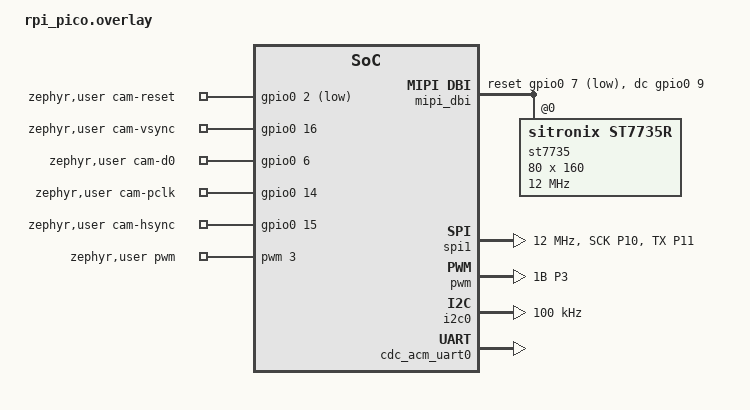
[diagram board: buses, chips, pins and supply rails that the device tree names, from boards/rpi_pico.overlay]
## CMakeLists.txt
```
# Copyright (c) Meta Platforms, Inc. and affiliates.
# All rights reserved.
# Copyright (c) 2026 Eoin Jordan.
#
# This source code is licensed under the BSD-style license found in the
# LICENSE file in the root directory of this source tree.
#
# MNIST digit recognition with ExecuTorch under Zephyr. Same structure as
# hello-executorch (model embedded as a const array, selective operator
# build) but with no Arm-backend pieces: the sample runs the portable
# kernels, including on a Cortex-M0+ without an FPU (RP2040).

cmake_minimum_required(VERSION 3.24)

set(CMAKE_SKIP_INSTALL_RULES
    ON
    CACHE BOOL "" FORCE
)

set(ET_PTE_FILE_PATH
    "${CMAKE_CURRENT_SOURCE_DIR}/models/mnist_tiny.pte"
    CACHE FILEPATH "Path to the ExecuTorch .pte model to embed"
)
if(NOT IS_ABSOLUTE "${ET_PTE_FILE_PATH}")
  get_filename_component(
    ET_PTE_FILE_PATH "${ET_PTE_FILE_PATH}" ABSOLUTE BASE_DIR
    "${CMAKE_CURRENT_SOURCE_DIR}"
  )
endif()
if(NOT EXISTS "${ET_PTE_FILE_PATH}")
  message(
    FATAL_ERROR
      "Model not found at ET_PTE_FILE_PATH=${ET_PTE_FILE_PATH}. "
      "Run models/tiny_digit_net.py --export or pass -DET_PTE_FILE_PATH=<file>."
  )
endif()

find_package(Zephyr REQUIRED HINTS $ENV{ZEPHYR_BASE})
project(executorch_mnist_camera)

find_package(Python3 COMPONENTS Interpreter REQUIRED)

set(CMAKE_CXX_FLAGS
    "${CMAKE_CXX_FLAGS} -Wall -Wno-switch -Wno-float-conversion -ffunction-sections -fdata-sections"
)

if(NOT DEFINED EXECUTORCH_DIR)
  if(DEFINED ZEPHYR_EXECUTORCH_MODULE_DIR)
    set(EXECUTORCH_DIR ${ZEPHYR_EXECUTORCH_MODULE_DIR})
  else()
    message(
      FATAL_ERROR
        "ExecuTorch module not found. Ensure it's properly configured in your Zephyr workspace."
    )
  endif()
endif()

include(${EXECUTORCH_DIR}/tools/cmake/Utils.cmake)
# arm_runner_create_selected_ops_lib() is target-agnostic despite its home.
include(${EXECUTORCH_DIR}/backends/arm/cmake/ArmRunnerUtils.cmake)

if(NOT TARGET portable_kernels)
  set(EXECUTORCH_PORTABLE_BUILD_KERNELS_ONLY ON)
  add_subdirectory(
    ${EXECUTORCH_DIR}/kernels/portable
    ${CMAKE_CURRENT_BINARY_DIR}/executorch/kernels/portable
  )
  unset(EXECUTORCH_PORTABLE_BUILD_KERNELS_ONLY)
endif()

# Only the operators present in the .pte are registered and linked.
arm_runner_create_selected_ops_lib(
  LIB_NAME "mnist_portable_ops_lib"
  FUNCTIONS_YAML "${EXECUTORCH_DIR}/kernels/portable/functions.yaml"
  OPS_FROM_MODEL "${ET_PTE_FILE_PATH}"
  KERNEL_LIBS portable_kernels
  DEPS executorch
  DTYPE_SELECTIVE_BUILD ""
)

# flatcc builds a host tool inside the ExecuTorch tree; give it a writable
# copy in the build directory (same workaround as hello-executorch).
set(_local_flatcc_root ${CMAKE_BINARY_DIR}/flatcc_src)
if(NOT EXISTS ${_local_flatcc_root}/CMakeLists.txt)
  file(MAKE_DIRECTORY ${_local_flatcc_root})
  execute_process(
    COMMAND ${CMAKE_COMMAND} -E copy_directory
            ${EXECUTORCH_DIR}/third-party/flatcc ${_local_flatcc_root}
  )
endif()
set(EXECUTORCH_FLATCC_SOURCE_ROOT
    ${_local_flatcc_root}
    CACHE PATH "" FORCE
)
set(EXECUTORCH_FLATCC_INSTALL_ROOT
    ${_local_flatcc_root}
    CACHE PATH "" FORCE
)

# The module's runtime includes <zephyr/kernel.h>, which needs Zephyr's
# generated headers; order it explicitly so a parallel build cannot race.
if(TARGET zephyr_generated_headers)
  foreach(_t executorch_core executorch portable_kernels kernels_util_all_deps)
    if(TARGET ${_t})
      add_dependencies(${_t} zephyr_generated_headers)
    endif()
  endforeach()
endif()

# Model bytes as a C array
set(_model_pte_header ${CMAKE_CURRENT_BINARY_DIR}/model_pte.h)
add_custom_command(
  OUTPUT ${_model_pte_header}
  COMMAND ${Python3_EXECUTABLE} ${CMAKE_CURRENT_SOURCE_DIR}/scripts/pte_to_header.py
          --pte ${ET_PTE_FILE_PATH} --out ${_model_pte_header}
  DEPENDS ${ET_PTE_FILE_PATH} ${CMAKE_CURRENT_SOURCE_DIR}/scripts/pte_to_header.py
  COMMENT "Converting ${ET_PTE_FILE_PATH} to model_pte.h"
)
add_custom_target(gen_model_header DEPENDS ${_model_pte_header})
add_dependencies(app gen_model_header)

target_sources(app PRIVATE src/main.cpp)
target_sources_ifdef(CONFIG_APP_CAMERA_HM01B0_PIO app PRIVATE src/camera_hm01b0.c)
target_sources_ifdef(CONFIG_APP_SCREEN_ST7735 app PRIVATE src/screen_st7735.c)
target_include_directories(app PRIVATE ${CMAKE_CURRENT_BINARY_DIR})

target_compile_definitions(
  app
  PRIVATE
    APP_METHOD_ALLOCATOR_POOL_SIZE=${CONFIG_EXECUTORCH_METHOD_ALLOCATOR_POOL_SIZE}
    APP_TEMP_ALLOCATOR_POOL_SIZE=${CONFIG_EXECUTORCH_TEMP_ALLOCATOR_POOL_SIZE}
)

target_link_libraries(app PRIVATE libexecutorch mnist_portable_ops_lib)
```

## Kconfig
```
# Copyright (c) Meta Platforms, Inc. and affiliates.
# All rights reserved.
# Copyright (c) 2026 Eoin Jordan.
#
# This source code is licensed under the BSD-style license found in the
# LICENSE file in the root directory of this source tree.

source "Kconfig.zephyr"

menu "ExecuTorch MNIST camera sample"

config EXECUTORCH_METHOD_ALLOCATOR_POOL_SIZE
	int "Method allocator pool size in bytes"
	default 65536
	depends on EXECUTORCH
	help
	  Static pool for the Method, its metadata and the memory-planned
	  activation buffers. TinyDigitNet needs about 60 KiB.

config EXECUTORCH_TEMP_ALLOCATOR_POOL_SIZE
	int "Temporary allocator pool size in bytes"
	default 8192
	depends on EXECUTORCH

config APP_BOOT_DELAY_MS
	int "Delay before the first console line (ms)"
	default 0
	help
	  Boards with a USB CDC console lose the banner unless the host has a
	  moment to open the port.

choice APP_CAMERA
	prompt "Camera input"
	default APP_CAMERA_NONE

config APP_CAMERA_NONE
	bool "None: run the embedded self-test only"

config APP_CAMERA_HM01B0_PIO
	bool "HM01B0 through RP2040 PIO + DMA (Arducam Pico4ML)"
	depends on SOC_SERIES_RP2040 && PIO_RPI_PICO && DMA && PWM && I2C && GPIO

endchoice

config APP_CAMERA_INTERVAL_MS
	int "Delay between camera inferences (ms)"
	default 500
	depends on !APP_CAMERA_NONE

config APP_PREVIEW_EVERY
	int "Print the 28x28 crop as ASCII every N frames"
	default 10
	depends on !APP_CAMERA_NONE

config APP_CAM_BINNING
	bool "HM01B0 2x2 binning (162x122 frames instead of 324x244)"
	default y
	depends on APP_CAMERA_HM01B0_PIO

config APP_CAM_BIT_REVERSE
	bool "Reverse the bit order of each HM01B0 byte"
	depends on APP_CAMERA_HM01B0_PIO
	help
	  The HM01B0 on the Pico4ML sends each pixel MSB first, matching the
	  PIO program. Turn this on if the preview looks like noise while the
	  frame statistics span the full range.

config APP_SCREEN_ST7735
	bool "Show the result on an ST7735 (zephyr,display chosen node)"
	depends on DISPLAY

config APP_USB_BOOTSEL_ON_1200_BAUD
	bool "RP2040: reboot into BOOTSEL when the USB console is opened at 1200 baud"
	depends on SOC_SERIES_RP2040 && UART_LINE_CTRL

endmenu
```

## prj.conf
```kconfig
# Copyright (c) Meta Platforms, Inc. and affiliates.
# All rights reserved.
# Copyright (c) 2026 Eoin Jordan.
#
# This source code is licensed under the BSD-style license found in the
# LICENSE file in the root directory of this source tree.

# ExecuTorch runtime, selective operator build (only the ops in the .pte)
CONFIG_EXECUTORCH=y
CONFIG_EXECUTORCH_BUILD_PORTABLE_OPS=n
CONFIG_EXECUTORCH_ENABLE_LOGGING=y

CONFIG_CPP=y
CONFIG_STD_CPP17=y

CONFIG_MAIN_STACK_SIZE=16384
CONFIG_HEAP_MEM_POOL_SIZE=16384

CONFIG_REQUIRES_FLOAT_PRINTF=y
CONFIG_PRINTK=y

# Hardware float where the core has it; the hard-float ABI is Arm-only and
# lives in boards/*.conf.
CONFIG_FPU=y
```

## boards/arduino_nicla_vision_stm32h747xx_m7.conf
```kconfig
# Copyright (c) Meta Platforms, Inc. and affiliates.
# All rights reserved.
# Copyright (c) 2026 Eoin Jordan.
#
# This source code is licensed under the BSD-style license found in the
# LICENSE file in the root directory of this source tree.

# Arduino Nicla Vision (STM32H747 Cortex-M7): GC2145 on DCMI through the Zephyr
# video API (zephyr,camera is chosen in the board devicetree); console on USB
# CDC ACM by board default. Flash with west flash (dfu-util) after a double
# tap on the reset button.
CONFIG_APP_CAMERA_VIDEO=y
CONFIG_VIDEO=y
CONFIG_LOG=y
CONFIG_LOG_MODE_DEFERRED=y

# Two 160x120 RGB565 frames (the GC2145 driver scales down to that window)
CONFIG_VIDEO_BUFFER_POOL_NUM_MAX=2
CONFIG_VIDEO_BUFFER_POOL_HEAP_SIZE=81920
CONFIG_VIDEO_BUFFER_POOL_ALIGN=32

CONFIG_FP_HARDABI=y
CONFIG_APP_BOOT_DELAY_MS=1500
CONFIG_HEAP_MEM_POOL_SIZE=32768
CONFIG_EXECUTORCH_METHOD_ALLOCATOR_POOL_SIZE=131072
CONFIG_EXECUTORCH_TEMP_ALLOCATOR_POOL_SIZE=16384
```

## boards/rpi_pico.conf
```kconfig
# Copyright (c) Meta Platforms, Inc. and affiliates.
# All rights reserved.
# Copyright (c) 2026 Eoin Jordan.
#
# This source code is licensed under the BSD-style license found in the
# LICENSE file in the root directory of this source tree.

# Arducam Pico4ML-BLE (RP2040, Cortex-M0+, no FPU, 264 KB SRAM): HM01B0 over
# PIO + DMA, ST7735S over SPI1, console on USB CDC. The overlay next to this
# file carries the pins. A plain Raspberry Pi Pico builds the self-test with
# the camera and screen options off.
CONFIG_APP_CAMERA_HM01B0_PIO=y
CONFIG_PIO_RPI_PICO=y
CONFIG_DMA=y
CONFIG_PWM=y
CONFIG_I2C=y
CONFIG_GPIO=y

CONFIG_APP_SCREEN_ST7735=y
CONFIG_DISPLAY=y
CONFIG_MIPI_DBI=y
CONFIG_SPI=y

# USB CDC ACM console; 1200 baud reboots into BOOTSEL for scripted reflashing
CONFIG_SERIAL=y
CONFIG_CONSOLE=y
CONFIG_UART_CONSOLE=y
CONFIG_UART_LINE_CTRL=y
CONFIG_USB_DEVICE_STACK_NEXT=y
CONFIG_CDC_ACM_SERIAL_INITIALIZE_AT_BOOT=y
CONFIG_CDC_ACM_SERIAL_PID=0x0004
CONFIG_CDC_ACM_SERIAL_PRODUCT_STRING="ExecuTorch MNIST"
CONFIG_APP_USB_BOOTSEL_ON_1200_BAUD=y
CONFIG_APP_BOOT_DELAY_MS=1500

# No FPU: fp32 in software, about 760 ms per inference. Keep RAM tight.
CONFIG_FPU=n
CONFIG_MAIN_STACK_SIZE=12288
CONFIG_HEAP_MEM_POOL_SIZE=16384
CONFIG_EXECUTORCH_METHOD_ALLOCATOR_POOL_SIZE=65536
CONFIG_EXECUTORCH_TEMP_ALLOCATOR_POOL_SIZE=8192
```

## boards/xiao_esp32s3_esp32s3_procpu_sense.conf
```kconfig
# Copyright (c) Meta Platforms, Inc. and affiliates.
# All rights reserved.
# Copyright (c) 2026 Eoin Jordan.
#
# This source code is licensed under the BSD-style license found in the
# LICENSE file in the root directory of this source tree.

# Seeed XIAO ESP32-S3 Sense: OV2640 on the LCD_CAM DVP receiver, through the
# Zephyr video API (zephyr,camera is chosen in the board devicetree).
CONFIG_APP_CAMERA_VIDEO=y
CONFIG_VIDEO=y
CONFIG_LOG=y
CONFIG_LOG_MODE_DEFERRED=y

# Two 160x120 RGB565 frames (38400 B each) in internal SRAM, no PSRAM needed.
CONFIG_VIDEO_BUFFER_POOL_NUM_MAX=2
CONFIG_VIDEO_BUFFER_POOL_HEAP_SIZE=81920
CONFIG_VIDEO_BUFFER_POOL_ALIGN=32
CONFIG_DMA_ESP32_MAX_DESCRIPTOR_NUM=64

CONFIG_HEAP_MEM_POOL_SIZE=32768
CONFIG_EXECUTORCH_METHOD_ALLOCATOR_POOL_SIZE=131072
CONFIG_EXECUTORCH_TEMP_ALLOCATOR_POOL_SIZE=16384
```

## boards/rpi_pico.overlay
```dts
/* Copyright (c) Meta Platforms, Inc. and affiliates.
 * All rights reserved.
 * Copyright (c) 2026 Eoin Jordan.
 *
 * This source code is licensed under the BSD-style license found in the
 * LICENSE file in the root directory of this source tree.
 *
 * Arducam Pico4ML-BLE on top of Zephyr's rpi_pico board:
 *   HM01B0 camera   SCCB on I2C0 (GP4 SDA, GP5 SCL) @ 0x24, RESET GP2,
 *                   XCLK GP3 (PWM 1B), VSYNC GP16, D0 GP6, PCLK GP14, HSYNC GP15
 *   ST7735S LCD     SPI1 (GP10 SCK, GP11 MOSI), CS GP13, DC GP9, RST GP7, 80x160
 *   Console         USB CDC ACM
 */

#include <zephyr/dt-bindings/pwm/pwm.h>

/ {
	chosen {
		zephyr,console = &cdc_acm_uart0;
		zephyr,display = &st7735;
	};

	zephyr,user {
		/* HM01B0 XCLK on GP3 = PWM slice 1 channel B = channel index 3 */
		pwms = <&pwm 3 PWM_NSEC(80) PWM_POLARITY_NORMAL>;
		cam-reset-gpios = <&gpio0 2 GPIO_ACTIVE_LOW>;
		cam-vsync-gpios = <&gpio0 16 GPIO_ACTIVE_HIGH>;
		cam-d0-gpios = <&gpio0 6 GPIO_ACTIVE_HIGH>;
		cam-pclk-gpios = <&gpio0 14 GPIO_ACTIVE_HIGH>;
		cam-hsync-gpios = <&gpio0 15 GPIO_ACTIVE_HIGH>;
	};

	mipi_dbi {
		compatible = "zephyr,mipi-dbi-spi";
		spi-dev = <&spi1>;
		dc-gpios = <&gpio0 9 GPIO_ACTIVE_HIGH>;
		reset-gpios = <&gpio0 7 GPIO_ACTIVE_LOW>;
		write-only;
		#address-cells = <1>;
		#size-cells = <0>;

		/* 0.96" 80x160 ST7735S: the panel sits at column offset 24 of the
		 * 132x162 frame memory, BGR order, 16-bit colour. */
		st7735: st7735@0 {
			compatible = "sitronix,st7735r";
			reg = <0>;
			mipi-max-frequency = <DT_FREQ_M(12)>;
			mipi-mode = "MIPI_DBI_MODE_SPI_4WIRE";
			width = <80>;
			height = <160>;
			x-offset = <24>;
			y-offset = <0>;
			madctl = <0x08>;
			colmod = <0x05>;
			caset = [00 00 00 4f];
			raset = [00 00 00 9f];
			gamctrp1 = [02 1c 07 12 37 32 29 2d 29 25 2b 39 00 01 03 10];
			gamctrn1 = [03 1d 07 06 2e 2c 29 2d 2e 2e 37 3f 00 00 02 10];
		};
	};
};

&pinctrl {
	spi1_lcd: spi1_lcd {
		group1 {
			pinmux = <SPI1_SCK_P10>, <SPI1_TX_P11>;
		};
	};

	pwm_xclk: pwm_xclk {
		group1 {
			pinmux = <PWM_1B_P3>;
		};
	};
};

&spi1 {
	status = "okay";
	pinctrl-0 = <&spi1_lcd>;
	pinctrl-names = "default";
	clock-frequency = <DT_FREQ_M(12)>;
	cs-gpios = <&gpio0 13 GPIO_ACTIVE_LOW>;
};

&pwm {
	status = "okay";
	pinctrl-0 = <&pwm_xclk>;
	pinctrl-names = "default";
	/* slice 1 runs at the 125 MHz system clock: 10 cycles = 12.5 MHz XCLK */
	divider-int-1 = <1>;
};

&i2c0 {
	status = "okay";
	clock-frequency = <I2C_BITRATE_STANDARD>;
};

&pio0 {
	status = "okay";
};

&zephyr_udc0 {
	cdc_acm_uart0: cdc_acm_uart0 {
		compatible = "zephyr,cdc-acm-uart";
	};
};

/* Zephyr DMA driver on: it pulls in the pico-sdk DMA layer the capture uses */
&dma {
	status = "okay";
};
```

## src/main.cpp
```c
/* Copyright (c) Meta Platforms, Inc. and affiliates.
 * All rights reserved.
 * Copyright (c) 2026 Eoin Jordan.
 *
 * This source code is licensed under the BSD-style license found in the
 * LICENSE file in the root directory of this source tree.
 *
 * MNIST digit recognition with ExecuTorch under Zephyr on the Arducam
 * Pico4ML (RP2040, Cortex-M0+), and the embedded self-test on any board:
 *
 * 1. Load the .pte embedded in flash (model_pte.h, generated at build time)
 *    and run the MNIST test image baked into test_input.h; compare the
 *    logits with PyTorch's, so a fresh board proves the export -> embed ->
 *    execute path end to end (SELF-TEST PASS).
 * 2. Optionally keep classifying frames from the HM01B0 camera behind
 *    RP2040 PIO + DMA, with an optional ST7735 status screen.
 */

#include <executorch/extension/data_loader/buffer_data_loader.h>
#include <executorch/runtime/core/memory_allocator.h>
#include <executorch/runtime/core/span.h>
#include <executorch/runtime/executor/memory_manager.h>
#include <executorch/runtime/executor/method.h>
#include <executorch/runtime/executor/program.h>
#include <executorch/runtime/platform/log.h>
#include <executorch/runtime/platform/runtime.h>

#include <zephyr/kernel.h>
#include <zephyr/sys/printk.h>
#include <zephyr/version.h>

#include <cmath>
#include <cstdint>
#include <cstdio>
#include <cstring>
#include <vector>

#include "model_pte.h" /* generated: model_pte[], model_pte_len */
#include "test_input.h" /* generated: kTestInput[], kTestExpectedLogits[] */

#ifndef CONFIG_APP_CAMERA_NONE
#include "camera.h"
#endif
#ifdef CONFIG_APP_SCREEN_ST7735
#include "screen.h"
#endif
#ifdef CONFIG_APP_USB_BOOTSEL_ON_1200_BAUD
#include <zephyr/drivers/uart.h>

#include <pico/bootrom.h>
#endif

using executorch::aten::Tensor;
using executorch::aten::TensorImpl;
using executorch::extension::BufferDataLoader;
using executorch::runtime::Error;
using executorch::runtime::EValue;
using executorch::runtime::HierarchicalAllocator;
using executorch::runtime::MemoryAllocator;
using executorch::runtime::MemoryManager;
using executorch::runtime::Method;
using executorch::runtime::MethodMeta;
using executorch::runtime::Program;
using executorch::runtime::Result;
using executorch::runtime::Span;
using executorch::runtime::TensorInfo;

/* Same constants as models/tiny_digit_net.py */
static constexpr float kMean = 0.1307f;
static constexpr float kStd = 0.3081f;
static constexpr size_t kNumClasses = 10;
static constexpr int kSide = 28;

#ifndef APP_METHOD_ALLOCATOR_POOL_SIZE
#define APP_METHOD_ALLOCATOR_POOL_SIZE (64 * 1024)
#endif
#ifndef APP_TEMP_ALLOCATOR_POOL_SIZE
#define APP_TEMP_ALLOCATOR_POOL_SIZE (8 * 1024)
#endif

alignas(16) static uint8_t method_pool[APP_METHOD_ALLOCATOR_POOL_SIZE];
alignas(16) static uint8_t temp_pool[APP_TEMP_ALLOCATOR_POOL_SIZE];

namespace {

struct Runner {
  BufferDataLoader loader{model_pte, model_pte_len};
  MemoryAllocator method_allocator{APP_METHOD_ALLOCATOR_POOL_SIZE, method_pool};
  MemoryAllocator temp_allocator{APP_TEMP_ALLOCATOR_POOL_SIZE, temp_pool};
  std::vector<Span<uint8_t>> planned_spans;
  Program* program = nullptr;
  Method* method = nullptr;
  float* input = nullptr;
  size_t input_numel = 0;
  Tensor* input_tensor = nullptr;

  Error init();
  Error run(const float* pixels, float* logits, uint32_t* us);
};

Error Runner::init() {
  Result<Program> program_res = Program::load(&loader);
  if (!program_res.ok()) {
    ET_LOG(Error, "Program::load failed: 0x%x", (unsigned)program_res.error());
    return program_res.error();
  }
  program = new Program(std::move(program_res.get()));

  const char* method_name = program->get_method_name(0).get();
  Result<MethodMeta> meta = program->method_meta(method_name);
  if (!meta.ok()) {
    return meta.error();
  }

  for (size_t id = 0; id < meta->num_memory_planned_buffers(); ++id) {
    size_t size =
        static_cast<size_t>(meta->memory_planned_buffer_size(id).get());
    uint8_t* buf = static_cast<uint8_t*>(method_allocator.allocate(size, 16));
    if (buf == nullptr) {
      ET_LOG(
          Error,
          "planned buffer %zu (%zu B) does not fit the method pool",
          id,
          size);
      return Error::MemoryAllocationFailed;
    }
    planned_spans.push_back({buf, size});
  }

  static HierarchicalAllocator planned_memory(
      {planned_spans.data(), planned_spans.size()});
  static MemoryManager memory_manager(
      &method_allocator, &planned_memory, &temp_allocator);

  Result<Method> method_res =
      program->load_method(method_name, &memory_manager);
  if (!method_res.ok()) {
    ET_LOG(
        Error,
        "load_method(%s) failed: 0x%x",
        method_name,
        (unsigned)method_res.error());
    return method_res.error();
  }
  method = new Method(std::move(method_res.get()));

  Result<TensorInfo> in_meta = meta->input_tensor_meta(0);
  if (!in_meta.ok()) {
    return in_meta.error();
  }
  input_numel = in_meta->nbytes() / sizeof(float);
  input = static_cast<float*>(method_allocator.allocate(in_meta->nbytes(), 16));
  if (input == nullptr) {
    return Error::MemoryAllocationFailed;
  }
  static TensorImpl impl(
      in_meta->scalar_type(),
      in_meta->sizes().size(),
      const_cast<TensorImpl::SizesType*>(in_meta->sizes().data()),
      input,
      const_cast<TensorImpl::DimOrderType*>(in_meta->dim_order().data()));
  static Tensor tensor(&impl);
  input_tensor = &tensor;

  printk(
      "method '%s' loaded; input numel %zu; pool used %zu / %zu bytes\n",
      method_name,
      input_numel,
      method_allocator.used_size(),
      method_allocator.size());
  return Error::Ok;
}

Error Runner::run(const float* pixels, float* logits, uint32_t* us) {
  std::memcpy(input, pixels, input_numel * sizeof(float));
  Error err = method->set_input(EValue(*input_tensor), 0);
  if (err != Error::Ok) {
    ET_LOG(Error, "set_input failed: 0x%x", (unsigned)err);
    return err;
  }
  uint32_t t0 = k_cycle_get_32();
  err = method->execute();
  uint32_t t1 = k_cycle_get_32();
  if (err != Error::Ok) {
    ET_LOG(Error, "execute failed: 0x%x", (unsigned)err);
    return err;
  }
  *us = k_cyc_to_us_floor32(t1 - t0);

  const EValue& out = method->get_output(0);
  if (!out.isTensor()) {
    return Error::InvalidState;
  }
  const float* data = out.toTensor().const_data_ptr<float>();
  for (size_t i = 0; i < kNumClasses; ++i) {
    logits[i] = data[i];
  }
  return Error::Ok;
}

size_t argmax(const float* v, size_t n) {
  size_t best = 0;
  for (size_t i = 1; i < n; ++i) {
    if (v[i] > v[best]) {
      best = i;
    }
  }
  return best;
}

int confidence_pct(const float* logits) {
  size_t best = argmax(logits, kNumClasses);
  float sum = 0.f;
  for (size_t i = 0; i < kNumClasses; ++i) {
    sum += expf(logits[i] - logits[best]);
  }
  return (int)lroundf(100.f / sum);
}

void print_logits(const float* logits) {
  size_t best = argmax(logits, kNumClasses);
  for (size_t i = 0; i < kNumClasses; ++i) {
    printk(
        "  logit[%zu] = %9.4f%s\n",
        i,
        static_cast<double>(logits[i]),
        i == best ? "  <-- argmax" : "");
  }
}

void print_preview(const uint8_t* img) {
  for (int y = 0; y < kSide; ++y) {
    char line[kSide + 1];
    for (int x = 0; x < kSide; ++x) {
      uint8_t v = img[y * kSide + x];
      line[x] = v > 160 ? '#' : (v > 90 ? '+' : '.');
    }
    line[kSide] = '\0';
    printk("  %s\n", line);
  }
}

/* Undo the MNIST normalisation so the embedded test image can be shown. */
void input_to_gray(const float* in, uint8_t* gray) {
  for (int i = 0; i < kSide * kSide; ++i) {
    float v = (in[i] * kStd + kMean) * 255.f;
    gray[i] = (uint8_t)(v < 0.f ? 0.f : v > 255.f ? 255.f : v);
  }
}

#ifdef CONFIG_APP_SCREEN_ST7735
void show(
    const uint8_t* gray,
    const char* status,
    uint16_t status_color,
    int digit,
    int pct) {
  char line[16];
  screen_clear(COLOR_BLACK);
  screen_text(2, 2, "ExecuTorch", COLOR_WHITE, COLOR_BLACK);
  screen_text(2, 12, status, status_color, COLOR_BLACK);
  if (gray != nullptr) {
    screen_gray(12, 24, gray, kSide, kSide, 2);
  }
  if (digit >= 0) {
    snprintf(line, sizeof(line), "digit %d", digit);
    screen_text(2, 86, line, COLOR_YELLOW, COLOR_BLACK);
    snprintf(line, sizeof(line), "%3d%%", pct);
    screen_text(52, 86, line, COLOR_WHITE, COLOR_BLACK);
    screen_bar(2, 97, 76, 5, pct, pct >= 80 ? COLOR_GREEN : COLOR_YELLOW);
  }
  screen_text(2, 150, "zephyr", COLOR_GREY, COLOR_BLACK);
  screen_flush();
}
#else
void show(const uint8_t*, const char*, uint16_t, int, int) {}
#define COLOR_GREEN 0
#define COLOR_RED 0
#define COLOR_YELLOW 0
#define COLOR_WHITE 0
#endif

void maybe_reboot_to_bootsel() {
#ifdef CONFIG_APP_USB_BOOTSEL_ON_1200_BAUD
  /* Same convention as the pico-sdk stdio: opening the USB serial port at
   * 1200 baud reboots into the UF2 bootloader, so scripts can reflash
   * without touching the BOOTSEL button. */
  const struct device* const console = DEVICE_DT_GET(DT_CHOSEN(zephyr_console));
  uint32_t baud = 0;
  if (uart_line_ctrl_get(console, UART_LINE_CTRL_BAUD_RATE, &baud) == 0 &&
      baud == 1200) {
    printk("1200 baud seen: rebooting into BOOTSEL\n");
    k_msleep(100);
    reset_usb_boot(0, 0);
  }
#endif
}

} // namespace

int main(void) {
  executorch::runtime::runtime_init();

  /* Boards with a USB console need a moment before the first line. */
  k_msleep(CONFIG_APP_BOOT_DELAY_MS);

  printk(
      "\nExecuTorch on %s (Zephyr %s)\n",
      CONFIG_BOARD_TARGET,
      KERNEL_VERSION_STRING);
  printk(
      "model: %u bytes in flash, method pool %u B, temp pool %u B\n",
      (unsigned)model_pte_len,
      (unsigned)APP_METHOD_ALLOCATOR_POOL_SIZE,
      (unsigned)APP_TEMP_ALLOCATOR_POOL_SIZE);

#ifdef CONFIG_APP_SCREEN_ST7735
  if (screen_init() == 0) {
    show(nullptr, "loading...", COLOR_YELLOW, -1, 0);
  }
#endif

  static Runner runner;
  if (runner.init() != Error::Ok) {
    printk("FAIL: runtime init\n");
    show(nullptr, "RUNTIME FAIL", COLOR_RED, -1, 0);
    return 1;
  }

  /* --- 1. Self-test on the embedded MNIST image ----------------------- */
  float logits[kNumClasses];
  uint32_t us = 0;

  if (runner.run(kTestInput, logits, &us) != Error::Ok) {
    printk("FAIL: inference\n");
    return 1;
  }
  size_t pred = argmax(logits, kNumClasses);
  float max_diff = 0.f;
  for (size_t i = 0; i < kNumClasses; ++i) {
    max_diff = fmaxf(max_diff, fabsf(logits[i] - kTestExpectedLogits[i]));
  }
  printk("\nself-test: embedded MNIST image, label %d\n", TEST_INPUT_LABEL);
  print_logits(logits);
  printk(
      "  predicted %zu, expected %d, max |device - pytorch| = %.2e, %u us\n",
      pred,
      TEST_INPUT_LABEL,
      static_cast<double>(max_diff),
      us);
  bool ok = pred == TEST_INPUT_LABEL && max_diff < 1e-3f;
  printk(ok ? "SELF-TEST PASS\n" : "SELF-TEST FAIL\n");

  static uint8_t gray[kSide * kSide];
  input_to_gray(kTestInput, gray);
  show(
      gray,
      ok ? "SELF-TEST PASS" : "SELF-TEST FAIL",
      ok ? COLOR_GREEN : COLOR_RED,
      (int)pred,
      confidence_pct(logits));

  /* Warm timing: a few more runs, report the average. */
  uint32_t total = 0;
  const int reps = 10;
  for (int i = 0; i < reps; ++i) {
    runner.run(kTestInput, logits, &us);
    total += us;
  }
  printk("inference: %u us average over %d runs\n", total / reps, reps);

  /* --- 2. Optional live camera loop ----------------------------------- */
#ifndef CONFIG_APP_CAMERA_NONE
  if (app_camera_init() != 0) {
    printk("camera init failed; stopping after self-test\n");
  } else {
    static float frame[kSide * kSide];
    static uint8_t preview[kSide * kSide];
    uint32_t seq = 0;
    for (;;) {
      maybe_reboot_to_bootsel();
      if (app_camera_capture(frame, preview, kMean, kStd) == 0 &&
          runner.run(frame, logits, &us) == Error::Ok) {
        int digit = (int)argmax(logits, kNumClasses);
        int pct = confidence_pct(logits);
        if (seq % CONFIG_APP_PREVIEW_EVERY == 0) {
          printk("\ncamera frame %u:\n", seq);
          print_preview(preview);
        }
        printk("  digit %d (%d%%, %u us)\n", digit, pct, us);
        show(preview, "camera", COLOR_WHITE, digit, pct);
        seq++;
      }
      k_msleep(CONFIG_APP_CAMERA_INTERVAL_MS);
    }
  }
#endif
  for (;;) {
    maybe_reboot_to_bootsel();
    k_msleep(200);
  }
  return 0;
}
```

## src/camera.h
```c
/* Copyright (c) Meta Platforms, Inc. and affiliates.
 * All rights reserved.
 * Copyright (c) 2026 Eoin Jordan.
 *
 * This source code is licensed under the BSD-style license found in the
 * LICENSE file in the root directory of this source tree.
 */
#pragma once

#include <stdint.h>

#ifdef __cplusplus
extern "C" {
#endif

#define APP_IMG_SIDE 28

/* Bring up the board's camera and start streaming. Returns 0 or a negative
 * errno. Implemented by camera_hm01b0.c for the Arducam Pico4ML; another
 * board only needs these two calls.
 */
int app_camera_init(void);

/* Block for the next frame, centre-crop to a square, box-downsample to
 * 28x28 grayscale, invert (MNIST is light-on-dark) and normalise with
 * (x/255 - mean) / std into `out` (row-major, 784 floats). `preview`, if not
 * NULL, receives the 28x28 8-bit grayscale image before normalisation.
 */
int app_camera_capture(float* out, uint8_t* preview, float mean, float std);

#ifdef __cplusplus
}
#endif
```

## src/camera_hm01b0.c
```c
/* Copyright (c) Meta Platforms, Inc. and affiliates.
 * All rights reserved.
 * Copyright (c) 2026 Eoin Jordan.
 *
 * This source code is licensed under the BSD-style license found in the
 * LICENSE file in the root directory of this source tree.
 *
 * HM01B0 on the Arducam Pico4ML (RP2040), captured through PIO + DMA: the
 * sensor is put in its 1-bit serial output mode, one PIO state machine
 * clocks a bit in on every PCLK while HSYNC is high and pushes a byte per
 * pixel into its FIFO, a DMA channel drains the FIFO into RAM. Register
 * sequence after Arducam's RPI-Pico-Cam demo.
 *
 * Pins come from the zephyr,user node in boards/rpi_pico.overlay:
 *   SIOC/SIOD on i2c0 (address 0x24), RESET, XCLK (pwm), VSYNC (gpio),
 *   D0 / PCLK / HSYNC as PIO inputs with PCLK = D0 + 8 and HSYNC = D0 + 9.
 */

#include "camera.h"

#include <errno.h>
#include <string.h>

#include <zephyr/device.h>
#include <zephyr/drivers/gpio.h>
#include <zephyr/drivers/i2c.h>
#include <zephyr/drivers/misc/pio_rpi_pico/pio_rpi_pico.h>
#include <zephyr/drivers/pwm.h>
#include <zephyr/kernel.h>
#include <zephyr/sys/printk.h>

#include <hardware/dma.h>
#include <hardware/gpio.h>
#include <hardware/pio.h>
#include <hardware/pio_instructions.h>

/* pico-sdk defines pio0 as a macro, which would break DT_NODELABEL(pio0). */
#undef pio0
#undef pio1

#define HM01B0_ADDR 0x24

#ifdef CONFIG_APP_CAM_BINNING
#define CAM_W 162
#define CAM_H 122
#else
#define CAM_W 324
#define CAM_H 244
#endif

static const struct device* const i2c = DEVICE_DT_GET(DT_NODELABEL(i2c0));
static const struct device* const piodev = DEVICE_DT_GET(DT_NODELABEL(pio0));
static const struct pwm_dt_spec xclk = PWM_DT_SPEC_GET(DT_PATH(zephyr_user));
static const struct gpio_dt_spec reset_pin =
    GPIO_DT_SPEC_GET(DT_PATH(zephyr_user), cam_reset_gpios);
static const struct gpio_dt_spec vsync_pin =
    GPIO_DT_SPEC_GET(DT_PATH(zephyr_user), cam_vsync_gpios);
#define PIN_D0 DT_GPIO_PIN(DT_PATH(zephyr_user), cam_d0_gpios)
#define PIN_PCLK DT_GPIO_PIN(DT_PATH(zephyr_user), cam_pclk_gpios)
#define PIN_HSYNC DT_GPIO_PIN(DT_PATH(zephyr_user), cam_hsync_gpios)

BUILD_ASSERT(
    PIN_PCLK == PIN_D0 + 8 && PIN_HSYNC == PIN_D0 + 9,
    "PIO program waits on in-pin 8 (PCLK) and 9 (HSYNC) relative to D0");

static uint8_t frame[CAM_W * CAM_H];
static PIO pio;
static size_t sm;
static uint prog_offset;
static int dma_ch = -1;

struct reg {
  uint16_t addr;
  uint8_t val;
};

/* 324x244 window, 1-bit serial output, then the streaming bit. */
static const struct reg hm01b0_init[] = {
    {0x0103, 0x00},
    {0x0100, 0x00},
    {0x1003, 0x08},
    {0x1007, 0x08},
    {0x3044, 0x0A},
    {0x3045, 0x00},
    {0x3047, 0x0A},
    {0x3050, 0xC0},
    {0x3051, 0x42},
    {0x3052, 0x50},
    {0x3053, 0x00},
    {0x3054, 0x03},
    {0x3055, 0xF7},
    {0x3056, 0xF8},
    {0x3057, 0x29},
    {0x3058, 0x1F},
    {0x3059, 0x1E},
    {0x3064, 0x00},
    {0x3065, 0x04},
    {0x1000, 0x43},
    {0x1001, 0x40},
    {0x1002, 0x32},
    {0x0350, 0x7F},
    {0x1006, 0x01},
    {0x1008, 0x00},
    {0x1009, 0xA0},
    {0x100A, 0x60},
    {0x100B, 0x90},
    {0x100C, 0x40},
    {0x3022, 0x01},
    {0x1012, 0x01},
    {0x2000, 0x07},
    {0x2003, 0x00},
    {0x2004, 0x1C},
    {0x2007, 0x00},
    {0x2008, 0x58},
    {0x200B, 0x00},
    {0x200C, 0x7A},
    {0x200F, 0x00},
    {0x2010, 0xB8},
    {0x2013, 0x00},
    {0x2014, 0x58},
    {0x2017, 0x00},
    {0x2018, 0x9B},
    {0x2100, 0x01},
    {0x2101, 0x5F},
    {0x2102, 0x0A},
    {0x2103, 0x03},
    {0x2104, 0x05},
    {0x2105, 0x02},
    {0x2106, 0x14},
    {0x2107, 0x02},
    {0x2108, 0x03},
    {0x2109, 0x03},
    {0x210A, 0x00},
    {0x210B, 0x80},
    {0x210C, 0x40},
    {0x210D, 0x20},
    {0x210E, 0x03},
    {0x210F, 0x00},
    {0x2110, 0x85},
    {0x2111, 0x00},
    {0x2112, 0xA0},
    {0x2150, 0x03},
    {0x0340, 0x01},
    {0x0341, 0x7A},
    {0x0342, 0x01},
    {0x0343, 0x77},
    {0x3010, 0x00},
    {0x0383, 0x01},
    {0x0387, 0x01},
    {0x0390, 0x00},
    {0x3011, 0x70},
    {0x3059, 0x22},
    {0x3060, 0x30},
    {0x0101, 0x01},
    {0x0104, 0x01},
#ifdef CONFIG_APP_CAM_BINNING
    /* 2x2 binning: 162x122 frames, a quarter of the RAM. */
    {0x0383, 0x03},
    {0x0387, 0x03},
    {0x0390, 0x03},
#endif
    {0x0100, 0x01},
};

static int reg_write(uint16_t addr, uint8_t val) {
  uint8_t buf[3] = {(uint8_t)(addr >> 8), (uint8_t)addr, val};

  return i2c_write(i2c, buf, sizeof(buf), HM01B0_ADDR);
}

static int reg_read(uint16_t addr, uint8_t* val) {
  uint8_t a[2] = {(uint8_t)(addr >> 8), (uint8_t)addr};

  return i2c_write_read(i2c, HM01B0_ADDR, a, sizeof(a), val, 1);
}

int app_camera_init(void) {
  if (!device_is_ready(i2c) || !device_is_ready(piodev) ||
      !pwm_is_ready_dt(&xclk) || !gpio_is_ready_dt(&reset_pin) ||
      !gpio_is_ready_dt(&vsync_pin)) {
    printk("camera: a device is not ready\n");
    return -ENODEV;
  }

  /* XCLK: 125 MHz / 10 = 12.5 MHz, 30 % duty. */
  int ret = pwm_set_cycles(xclk.dev, xclk.channel, 10, 3, xclk.flags);

  if (ret != 0) {
    printk("camera: xclk pwm %d\n", ret);
    return ret;
  }

  gpio_pin_configure_dt(&reset_pin, GPIO_OUTPUT_ACTIVE); /* held in reset */
  gpio_pin_configure_dt(&vsync_pin, GPIO_INPUT);
  k_msleep(100);
  gpio_pin_set_dt(&reset_pin, 0);
  k_msleep(100);

  uint8_t id[2] = {0, 0};

  ret = reg_read(0x0000, &id[0]);
  if (ret == 0) {
    ret = reg_read(0x0001, &id[1]);
  }
  if (ret != 0 || id[0] != 0x01 || id[1] != 0xB0) {
    printk(
        "camera: HM01B0 not found (i2c %d, id %02x%02x)\n", ret, id[0], id[1]);
    return ret != 0 ? ret : -ENODEV;
  }
  for (size_t i = 0; i < ARRAY_SIZE(hm01b0_init); i++) {
    ret = reg_write(hm01b0_init[i].addr, hm01b0_init[i].val);
    if (ret != 0) {
      printk(
          "camera: reg 0x%04x write failed (%d)\n", hm01b0_init[i].addr, ret);
      return ret;
    }
  }

  /* wait 1 pin 9 (HSYNC); wait 1 pin 8 (PCLK); in pins, 1; wait 0 pin 8 */
  static uint16_t instr[4];

  instr[0] = pio_encode_wait_pin(true, 9);
  instr[1] = pio_encode_wait_pin(true, 8);
  instr[2] = pio_encode_in(pio_pins, 1);
  instr[3] = pio_encode_wait_pin(false, 8);
  static const struct pio_program prog = {
      .instructions = instr, .length = 4, .origin = -1};

  pio = pio_rpi_pico_get_pio(piodev);
  ret = pio_rpi_pico_allocate_sm(piodev, &sm);
  if (ret != 0 || !pio_can_add_program(pio, &prog)) {
    printk("camera: no PIO state machine / program space\n");
    return -EBUSY;
  }
  prog_offset = pio_add_program(pio, &prog);
  pio_gpio_init(pio, PIN_D0);
  pio_gpio_init(pio, PIN_PCLK);
  pio_gpio_init(pio, PIN_HSYNC);
  pio_sm_set_consecutive_pindirs(pio, sm, PIN_D0, 1, false);
  pio_sm_set_consecutive_pindirs(pio, sm, PIN_PCLK, 2, false);

  pio_sm_config c = pio_get_default_sm_config();

  sm_config_set_wrap(&c, prog_offset, prog_offset + 3);
  sm_config_set_in_pins(&c, PIN_D0);
  sm_config_set_in_shift(
      &c, false, true, 8); /* shift left, autopush at 8 bits */
  sm_config_set_fifo_join(&c, PIO_FIFO_JOIN_RX);
  pio_sm_init(pio, sm, prog_offset, &c);

  dma_ch = dma_claim_unused_channel(false);
  if (dma_ch < 0) {
    printk("camera: no free DMA channel\n");
    return -EBUSY;
  }
  printk(
      "camera: HM01B0 ready, %ux%u, PIO sm %u, DMA ch %d\n",
      CAM_W,
      CAM_H,
      (unsigned)sm,
      dma_ch);
  return 0;
}

static bool wait_vsync(int level) {
  int64_t deadline = k_uptime_get() + 1000;

  while (gpio_pin_get_dt(&vsync_pin) != level) {
    if (k_uptime_get() > deadline) {
      return false;
    }
  }
  return true;
}

static int capture_frame(void) {
  dma_channel_config c = dma_channel_get_default_config(dma_ch);

  channel_config_set_read_increment(&c, false);
  channel_config_set_write_increment(&c, true);
  channel_config_set_dreq(&c, pio_get_dreq(pio, sm, false));
  channel_config_set_transfer_data_size(&c, DMA_SIZE_8);
  dma_channel_configure(dma_ch, &c, frame, &pio->rxf[sm], sizeof(frame), false);

  /* Start on a rising edge of VSYNC so the DMA sees a whole frame. */
  if (!wait_vsync(0) || !wait_vsync(1)) {
    printk("camera: no VSYNC edge; sensor not streaming\n");
    return -ETIMEDOUT;
  }
  pio_sm_clear_fifos(pio, sm);
  pio_sm_restart(pio, sm);
  pio_sm_exec(pio, sm, pio_encode_jmp(prog_offset));
  dma_channel_start(dma_ch);
  pio_sm_set_enabled(pio, sm, true);

  int64_t deadline = k_uptime_get() + 1000;

  while (dma_channel_is_busy(dma_ch)) {
    if (k_uptime_get() > deadline) {
      dma_channel_abort(dma_ch);
      pio_sm_set_enabled(pio, sm, false);
      printk("camera: DMA stalled (PCLK/HSYNC not toggling?)\n");
      return -ETIMEDOUT;
    }
    k_yield();
  }
  pio_sm_set_enabled(pio, sm, false);

#ifdef CONFIG_APP_CAM_BIT_REVERSE
  /* For sensor revisions that send the low bit first. */
  for (size_t i = 0; i < sizeof(frame); i++) {
    uint8_t v = frame[i], r = 0;

    for (int b = 0; b < 8; b++) {
      r |= ((v >> b) & 1u) << (7 - b);
    }
    frame[i] = r;
  }
#endif
  return 0;
}

int app_camera_capture(float* out, uint8_t* preview, float mean, float std) {
  int ret = capture_frame();

  if (ret != 0) {
    return ret;
  }

  /* Centre square, box-averaged to 28x28, contrast-stretched so paper is
   * 0 and ink is 255 after inversion (MNIST is white strokes on black). */
  const int side = CAM_H < CAM_W ? CAM_H : CAM_W;
  const int box = side / APP_IMG_SIDE;
  const int x0 = (CAM_W - box * APP_IMG_SIDE) / 2;
  const int y0 = (CAM_H - box * APP_IMG_SIDE) / 2;
  static uint8_t gray[APP_IMG_SIDE * APP_IMG_SIDE];
  unsigned lo = 255, hi = 0;

  for (int y = 0; y < APP_IMG_SIDE; ++y) {
    for (int x = 0; x < APP_IMG_SIDE; ++x) {
      unsigned sum = 0;

      for (int by = 0; by < box; ++by) {
        const uint8_t* row = frame + (y0 + y * box + by) * CAM_W + x0 + x * box;
        for (int bx = 0; bx < box; ++bx) {
          sum += row[bx];
        }
      }
      unsigned v = sum / (box * box);

      gray[y * APP_IMG_SIDE + x] = (uint8_t)v;
      lo = v < lo ? v : lo;
      hi = v > hi ? v : hi;
    }
  }
  const unsigned range = hi > lo + 16 ? hi - lo : 16;

  for (int i = 0; i < APP_IMG_SIDE * APP_IMG_SIDE; ++i) {
    int v = 255 - (int)((gray[i] - lo) * 255u / range);

    v = v < 64 ? 0 : v;
    if (preview != NULL) {
      preview[i] = (uint8_t)v;
    }
    out[i] = (v / 255.f - mean) / std;
  }
  return 0;
}
```

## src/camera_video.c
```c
/* Copyright (c) Meta Platforms, Inc. and affiliates.
 * All rights reserved.
 * Copyright (c) 2026 Eoin Jordan.
 *
 * This source code is licensed under the BSD-style license found in the
 * LICENSE file in the root directory of this source tree.
 *
 * OV2640 capture on the XIAO ESP32S3 Sense through Zephyr's video API
 * (LCD_CAM DVP receiver + ov2640 driver, both in the board devicetree).
 */

#include "camera.h"

#include <errno.h>
#include <string.h>
#include <zephyr/device.h>
#include <zephyr/drivers/video.h>
#include <zephyr/kernel.h>
#include <zephyr/logging/log.h>

LOG_MODULE_REGISTER(app_camera, CONFIG_LOG_DEFAULT_LEVEL);

#if !DT_HAS_CHOSEN(zephyr_camera)
#error \
    "No zephyr,camera chosen in devicetree. Build for xiao_esp32s3/esp32s3/procpu/sense."
#endif

#define CAM_WIDTH 160
#define CAM_HEIGHT 120

static const struct device* const cam = DEVICE_DT_GET(DT_CHOSEN(zephyr_camera));
static struct video_format fmt = {.type = VIDEO_BUF_TYPE_OUTPUT};

int app_camera_init(void) {
  struct video_caps caps = {.type = VIDEO_BUF_TYPE_OUTPUT};
  int ret;

  if (!device_is_ready(cam)) {
    LOG_ERR("%s not ready", cam->name);
    return -ENODEV;
  }

  ret = video_get_caps(cam, &caps);
  if (ret < 0) {
    LOG_ERR("video_get_caps: %d", ret);
    return ret;
  }

  ret = video_get_format(cam, &fmt);
  if (ret < 0) {
    LOG_ERR("video_get_format: %d", ret);
    return ret;
  }
  fmt.pixelformat = VIDEO_PIX_FMT_RGB565;
  fmt.width = CAM_WIDTH;
  fmt.height = CAM_HEIGHT;

  ret = video_set_compose_format(cam, &fmt);
  if (ret < 0) {
    LOG_ERR("video_set_compose_format: %d", ret);
    return ret;
  }
  /* Read back pitch/size as the driver computed them. */
  ret = video_get_format(cam, &fmt);
  if (ret < 0) {
    return ret;
  }
  LOG_INF(
      "camera %s: %s %ux%u pitch=%u size=%u",
      cam->name,
      VIDEO_FOURCC_TO_STR(fmt.pixelformat),
      fmt.width,
      fmt.height,
      fmt.pitch,
      fmt.size);

  if (caps.min_vbuf_count > CONFIG_VIDEO_BUFFER_POOL_NUM_MAX) {
    LOG_ERR(
        "driver needs %u buffers, pool has %u",
        caps.min_vbuf_count,
        CONFIG_VIDEO_BUFFER_POOL_NUM_MAX);
    return -EINVAL;
  }

  for (int i = 0; i < CONFIG_VIDEO_BUFFER_POOL_NUM_MAX; i++) {
    struct video_buffer* vbuf = video_buffer_aligned_alloc(
        fmt.size, CONFIG_VIDEO_BUFFER_POOL_ALIGN, K_NO_WAIT);

    if (vbuf == NULL) {
      LOG_ERR(
          "video buffer alloc failed (raise CONFIG_VIDEO_BUFFER_POOL_HEAP_SIZE)");
      return -ENOMEM;
    }
    vbuf->type = VIDEO_BUF_TYPE_OUTPUT;
    ret = video_enqueue(cam, vbuf);
    if (ret < 0) {
      LOG_ERR("video_enqueue: %d", ret);
      return ret;
    }
  }

  ret = video_stream_start(cam, VIDEO_BUF_TYPE_OUTPUT);
  if (ret < 0) {
    LOG_ERR("video_stream_start: %d", ret);
    return ret;
  }
  LOG_INF("camera streaming");
  return 0;
}

static inline uint8_t rgb565_to_gray(const uint8_t* p) {
  uint16_t v;

  if (IS_ENABLED(CONFIG_APP_CAMERA_SWAP_BYTES)) {
    v = (uint16_t)((p[0] << 8) | p[1]);
  } else {
    v = (uint16_t)(p[0] | (p[1] << 8));
  }
  uint32_t r = ((v >> 11) & 0x1f) << 3;
  uint32_t g = ((v >> 5) & 0x3f) << 2;
  uint32_t b = (v & 0x1f) << 3;

  /* ITU-R BT.601 luma, integer weights summing to 256 */
  return (uint8_t)((77 * r + 150 * g + 29 * b) >> 8);
}

int app_camera_capture(float* out, uint8_t* preview, float mean, float std) {
  struct video_buffer* vbuf = NULL;
  struct video_buffer tmp = {.type = VIDEO_BUF_TYPE_OUTPUT};
  int ret;

  vbuf = &tmp;
  ret = video_dequeue(cam, &vbuf, K_FOREVER);
  if (ret < 0) {
    LOG_ERR("video_dequeue: %d", ret);
    return ret;
  }

  const uint32_t w = fmt.width;
  const uint32_t h = fmt.height;
  const uint32_t side = (w < h) ? w : h;
  const uint32_t x0 = (w - side) / 2;
  const uint32_t y0 = (h - side) / 2;
  const uint8_t* frame = vbuf->buffer;

  for (uint32_t oy = 0; oy < APP_IMG_SIDE; oy++) {
    uint32_t ya = y0 + (oy * side) / APP_IMG_SIDE;
    uint32_t yb = y0 + ((oy + 1) * side) / APP_IMG_SIDE;

    for (uint32_t ox = 0; ox < APP_IMG_SIDE; ox++) {
      uint32_t xa = x0 + (ox * side) / APP_IMG_SIDE;
      uint32_t xb = x0 + ((ox + 1) * side) / APP_IMG_SIDE;
      uint32_t sum = 0, n = 0;

      for (uint32_t y = ya; y < yb; y++) {
        const uint8_t* row = frame + y * fmt.pitch;

        for (uint32_t x = xa; x < xb; x++) {
          sum += rgb565_to_gray(row + 2 * x);
          n++;
        }
      }
      uint8_t gray = n ? (uint8_t)(sum / n) : 0;
      /* Dark ink on light paper -> light digit on dark, like MNIST */
      uint8_t inv = 255 - gray;

      if (preview) {
        preview[oy * APP_IMG_SIDE + ox] = inv;
      }
      out[oy * APP_IMG_SIDE + ox] = ((float)inv / 255.0f - mean) / std;
    }
  }

  ret = video_enqueue(cam, vbuf);
  if (ret < 0) {
    LOG_ERR("video_enqueue: %d", ret);
  }
  return ret;
}
```

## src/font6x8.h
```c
/* Generated by firmware/scripts/gen_font.py from DejaVuSansMono.ttf; do not edit. */
#pragma once
#include <stdint.h>
#define FONT_W 6
#define FONT_H 8
#define FONT_FIRST 0x20
#define FONT_LAST 0x7E
/* One byte per column, bit 0 = top row. */
static const uint8_t kFont6x8[95][6] = {
	{0x00, 0x00, 0x00, 0x00, 0x00, 0x00}, /* ' ' */
	{0x00, 0x00, 0x9e, 0xbe, 0x00, 0x00}, /* '!' */
	{0x00, 0x00, 0x0e, 0x0e, 0x00, 0x00}, /* '"' */
	{0x20, 0xe8, 0x3e, 0xe8, 0x2e, 0x28}, /* '#' */
	{0x00, 0x9c, 0x94, 0xb4, 0xe4, 0x00}, /* '$' */
	{0x04, 0x2a, 0x1e, 0xf0, 0xa8, 0x40}, /* '%' */
	{0x60, 0xdc, 0x9a, 0xb2, 0xe0, 0xb0}, /* '&' */
	{0x00, 0x00, 0x00, 0x00, 0x00, 0x00}, /* ''' */
	{0x00, 0x00, 0x7c, 0x83, 0x00, 0x00}, /* '(' */
	{0x00, 0x00, 0x83, 0x7c, 0x00, 0x00}, /* ')' */
	{0x00, 0x12, 0x0c, 0x0c, 0x12, 0x00}, /* '*' */
	{0x10, 0x10, 0x10, 0x10, 0x10, 0x10}, /* '+' */
	{0x00, 0x00, 0x80, 0x80, 0x00, 0x00}, /* ',' */
	{0x00, 0x00, 0x20, 0x20, 0x00, 0x00}, /* '-' */
	{0x00, 0x00, 0x80, 0x80, 0x00, 0x00}, /* '.' */
	{0x00, 0x80, 0x60, 0x18, 0x06, 0x00}, /* '/' */
	{0x00, 0x7c, 0x92, 0x92, 0x7c, 0x00}, /* '0' */
	{0x00, 0x82, 0x82, 0xfe, 0x80, 0x00}, /* '1' */
	{0x00, 0xc6, 0xa2, 0x92, 0x8c, 0x00}, /* '2' */
	{0x00, 0x86, 0x92, 0x92, 0xec, 0x00}, /* '3' */
	{0x20, 0x30, 0x24, 0x26, 0xfe, 0x20}, /* '4' */
	{0x00, 0x8e, 0x8a, 0x8a, 0x72, 0x00}, /* '5' */
	{0x00, 0x7c, 0x92, 0x92, 0xf2, 0x00}, /* '6' */
	{0x00, 0x02, 0xc2, 0x3a, 0x0e, 0x00}, /* '7' */
	{0x00, 0xee, 0x92, 0x92, 0xfe, 0x00}, /* '8' */
	{0x00, 0x9e, 0x92, 0x92, 0x7c, 0x00}, /* '9' */
	{0x00, 0x00, 0x88, 0x88, 0x00, 0x00}, /* ':' */
	{0x00, 0x00, 0x88, 0x88, 0x00, 0x00}, /* ';' */
	{0x10, 0x10, 0x28, 0x28, 0x44, 0x44}, /* '<' */
	{0x28, 0x28, 0x28, 0x28, 0x28, 0x28}, /* '=' */
	{0x44, 0x44, 0x28, 0x28, 0x10, 0x10}, /* '>' */
	{0x00, 0x02, 0xa2, 0x1a, 0x0e, 0x00}, /* '?' */
	{0xf8, 0x04, 0x72, 0x8a, 0x8a, 0xfc}, /* '@' */
	{0x80, 0x70, 0x2e, 0x26, 0x70, 0x80}, /* 'A' */
	{0x00, 0xfe, 0x92, 0x92, 0xfe, 0x40}, /* 'B' */
	{0x00, 0x7c, 0x82, 0x82, 0x82, 0x00}, /* 'C' */
	{0x00, 0xfe, 0x82, 0x82, 0x7c, 0x00}, /* 'D' */
	{0x00, 0xfe, 0x92, 0x92, 0x92, 0x00}, /* 'E' */
	{0x00, 0xfe, 0x12, 0x12, 0x12, 0x02}, /* 'F' */
	{0x10, 0x7c, 0x82, 0x92, 0xf2, 0x00}, /* 'G' */
	{0x00, 0xfe, 0x10, 0x10, 0xfe, 0x00}, /* 'H' */
	{0x00, 0x82, 0xfe, 0xfe, 0x82, 0x00}, /* 'I' */
	{0x00, 0x80, 0x82, 0xc2, 0x7e, 0x00}, /* 'J' */
	{0x00, 0xfe, 0x18, 0x3c, 0xc2, 0x80}, /* 'K' */
	{0x00, 0xfe, 0x80, 0x80, 0x80, 0x80}, /* 'L' */
	{0xfe, 0x06, 0x18, 0x18, 0x06, 0xfe}, /* 'M' */
	{0x00, 0xfe, 0x0c, 0x60, 0xfe, 0x00}, /* 'N' */
	{0x00, 0x7c, 0x82, 0x82, 0x7c, 0x00}, /* 'O' */
	{0x00, 0xfe, 0x12, 0x12, 0x1e, 0x0c}, /* 'P' */
	{0x00, 0x7c, 0x82, 0x82, 0xfc, 0x00}, /* 'Q' */
	{0x00, 0xfe, 0x12, 0x12, 0x6e, 0x80}, /* 'R' */
	{0x00, 0xce, 0x92, 0x92, 0xe4, 0x00}, /* 'S' */
	{0x02, 0x02, 0xfe, 0xfe, 0x02, 0x02}, /* 'T' */
	{0x00, 0xfe, 0x80, 0x80, 0xfe, 0x00}, /* 'U' */
	{0x02, 0x1c, 0xe0, 0xe0, 0x1c, 0x02}, /* 'V' */
	{0x1e, 0xe0, 0x38, 0x38, 0xe0, 0x1e}, /* 'W' */
	{0x80, 0xc6, 0x38, 0x38, 0x46, 0x82}, /* 'X' */
	{0x02, 0x06, 0xf8, 0xf8, 0x06, 0x02}, /* 'Y' */
	{0x00, 0xc2, 0xa2, 0x9a, 0x86, 0x82}, /* 'Z' */
	{0x00, 0x00, 0xff, 0x01, 0x00, 0x00}, /* '[' */
	{0x00, 0x06, 0x18, 0x60, 0x80, 0x00}, /* 'backslash' */
	{0x00, 0x00, 0x01, 0xff, 0x00, 0x00}, /* ']' */
	{0x00, 0x0c, 0x06, 0x06, 0x0c, 0x00}, /* '^' */
	{0x00, 0x00, 0x00, 0x00, 0x00, 0x00}, /* '_' */
	{0x00, 0x00, 0x03, 0x00, 0x00, 0x00}, /* '`' */
	{0x00, 0xe8, 0xa8, 0xa8, 0xf8, 0x00}, /* 'a' */
	{0x00, 0xff, 0x88, 0x88, 0xf8, 0x00}, /* 'b' */
	{0x00, 0x70, 0x88, 0x88, 0x88, 0x00}, /* 'c' */
	{0x00, 0xf8, 0x88, 0x88, 0xff, 0x00}, /* 'd' */
	{0x00, 0x70, 0xa8, 0xa8, 0xb8, 0x00}, /* 'e' */
	{0x00, 0x08, 0xfe, 0x0b, 0x09, 0x00}, /* 'f' */
	{0x00, 0xf8, 0x88, 0x88, 0xf8, 0x00}, /* 'g' */
	{0x00, 0xff, 0x08, 0x08, 0xf8, 0x00}, /* 'h' */
	{0x00, 0x88, 0x88, 0xf9, 0x80, 0x00}, /* 'i' */
	{0x00, 0x08, 0x08, 0xf9, 0x00, 0x00}, /* 'j' */
	{0x00, 0xff, 0x20, 0x30, 0xc8, 0x80}, /* 'k' */
	{0x00, 0x01, 0x7f, 0x80, 0x80, 0x00}, /* 'l' */
	{0xf8, 0x18, 0x18, 0xf8, 0x08, 0xf0}, /* 'm' */
	{0x00, 0xf8, 0x08, 0x08, 0xf8, 0x00}, /* 'n' */
	{0x00, 0xf8, 0x88, 0x88, 0xf8, 0x00}, /* 'o' */
	{0x00, 0xf8, 0x88, 0x88, 0xf8, 0x00}, /* 'p' */
	{0x00, 0xf8, 0x88, 0x88, 0xf8, 0x00}, /* 'q' */
	{0x00, 0x00, 0xf8, 0x08, 0x08, 0x08}, /* 'r' */
	{0x00, 0x98, 0xa8, 0xa8, 0xc8, 0x00}, /* 's' */
	{0x00, 0x08, 0xfe, 0x88, 0x88, 0x00}, /* 't' */
	{0x00, 0xf8, 0x80, 0x80, 0xf8, 0x00}, /* 'u' */
	{0x00, 0x38, 0xc0, 0xc0, 0x38, 0x00}, /* 'v' */
	{0x18, 0xe0, 0x60, 0x60, 0xe0, 0x18}, /* 'w' */
	{0x00, 0x88, 0x70, 0x70, 0x88, 0x00}, /* 'x' */
	{0x00, 0x18, 0xe0, 0xc0, 0x38, 0x00}, /* 'y' */
	{0x00, 0x88, 0x88, 0x88, 0x88, 0x00}, /* 'z' */
	{0x00, 0x10, 0x38, 0xc7, 0x01, 0x00}, /* '{' */
	{0x00, 0x00, 0x00, 0x00, 0x00, 0x00}, /* '|' */
	{0x00, 0x01, 0xc7, 0x38, 0x10, 0x00}, /* '}' */
	{0x00, 0x10, 0x10, 0x20, 0x20, 0x00}, /* '~' */
};
```

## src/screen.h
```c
/* Copyright (c) Meta Platforms, Inc. and affiliates.
 * All rights reserved.
 * Copyright (c) 2026 Eoin Jordan.
 *
 * This source code is licensed under the BSD-style license found in the
 * LICENSE file in the root directory of this source tree.
 *
 * The Pico4ML's 0.96" ST7735S (80 x 160, portrait) through Zephyr's display
 * API. One RGB565 framebuffer in RAM, pushed with display_write().
 */
#pragma once

#include <stdbool.h>
#include <stdint.h>

#ifdef __cplusplus
extern "C" {
#endif

#define SCREEN_W 80
#define SCREEN_H 160

#define RGB565(r, g, b) \
  ((uint16_t)((((r) & 0xF8) << 8) | (((g) & 0xFC) << 3) | ((b) >> 3)))
#define COLOR_BLACK RGB565(0, 0, 0)
#define COLOR_WHITE RGB565(255, 255, 255)
#define COLOR_GREEN RGB565(40, 220, 90)
#define COLOR_RED RGB565(240, 60, 60)
#define COLOR_YELLOW RGB565(240, 200, 60)
#define COLOR_GREY RGB565(110, 110, 120)

int screen_init(void);
void screen_clear(uint16_t color);
void screen_text(int x, int y, const char* s, uint16_t fg, uint16_t bg);
/* 8-bit grayscale image, drawn with integer scale (28x28 at scale 2 = 56x56).
 */
void screen_gray(int x, int y, const uint8_t* img, int w, int h, int scale);
void screen_bar(int x, int y, int w, int h, int percent, uint16_t color);
/* Push the framebuffer to the panel. */
void screen_flush(void);

#ifdef __cplusplus
}
#endif
```
